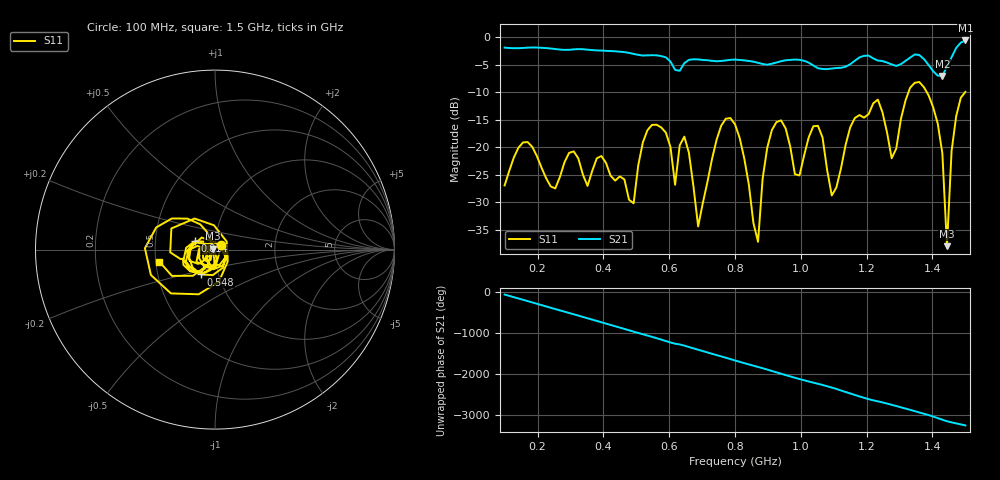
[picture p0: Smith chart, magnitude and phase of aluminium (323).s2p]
! NanoVNA-App
! Date: 2025-09-25 14:57:47
! Start: 100MHz Stop: 1,5GHz Points: 101
! S-Parameter data: F S11 S21 S12 S22
# Hz S RI R 50
!  Frequency  S11_Real  S11_Imag  S21_Real  S21_Imag  S12_Real  S12_Imag  S22_Real  S22_Imag
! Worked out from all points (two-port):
!   101 points, 100 MHz to 1.5 GHz, reference 50 ohm
!   highest |S21| = -0.62 dB at 1.5 GHz (marker M1); lowest = -7.1 dB at 1.43 GHz (marker M2)
!   |S21| within 3 dB of the highest: start of sweep to 585.5 MHz; 1.458 GHz to end of sweep (the widest 2 of 4)
!   lowest |S11| = -38.0 dB at 1.444 GHz (marker M3), VSWR 1.03, Z = 48.9 + j0.507 ohm
!   |S11| at or under -10 dB: start of sweep to 1.327 GHz; 1.383 GHz to 1.5 GHz (117.1 MHz wide, 8.12 % of centre)
!   S12 and S22 are empty: the file has one direction only
!   S11 on the Smith chart (normalised r, x): 100 MHz: 1.07, +0.06; 548 MHz: 0.82, -0.23; 814 MHz: 0.79, +0.07; 1.5 GHz: 0.52, -0.08
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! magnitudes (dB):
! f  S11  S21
! 100 MHz  -27.0  -1.9
! 338 MHz  -25.0  -2.2
! 492 MHz  -30.2  -3.1
! 548 MHz  -16.0  -3.3
! 576 MHz  -16.4  -3.5
! 618 MHz  -26.8  -6.0
! 646 MHz  -18.1  -4.7
! 688 MHz  -34.4  -4.1
! 800 MHz  -15.9  -4.1
! 814 MHz  -18.3  -4.2
! 870 MHz  -37.2  -4.7
! 912 MHz  -16.9  -4.8
! 996 MHz  -25.1  -4.1
! 1.038 GHz  -16.2  -5.2
! 1.094 GHz  -28.8  -5.7
! 1.234 GHz  -11.4  -4.3
! 1.276 GHz  -22.0  -5.0
! 1.36 GHz  -8.2  -3.3
! 1.43 GHz  -21.1  -7.1
! 1.444 GHz  -38.0  -5.4
! 1.458 GHz  -20.7  -3.7
! 1.5 GHz  -10.0  -0.6
